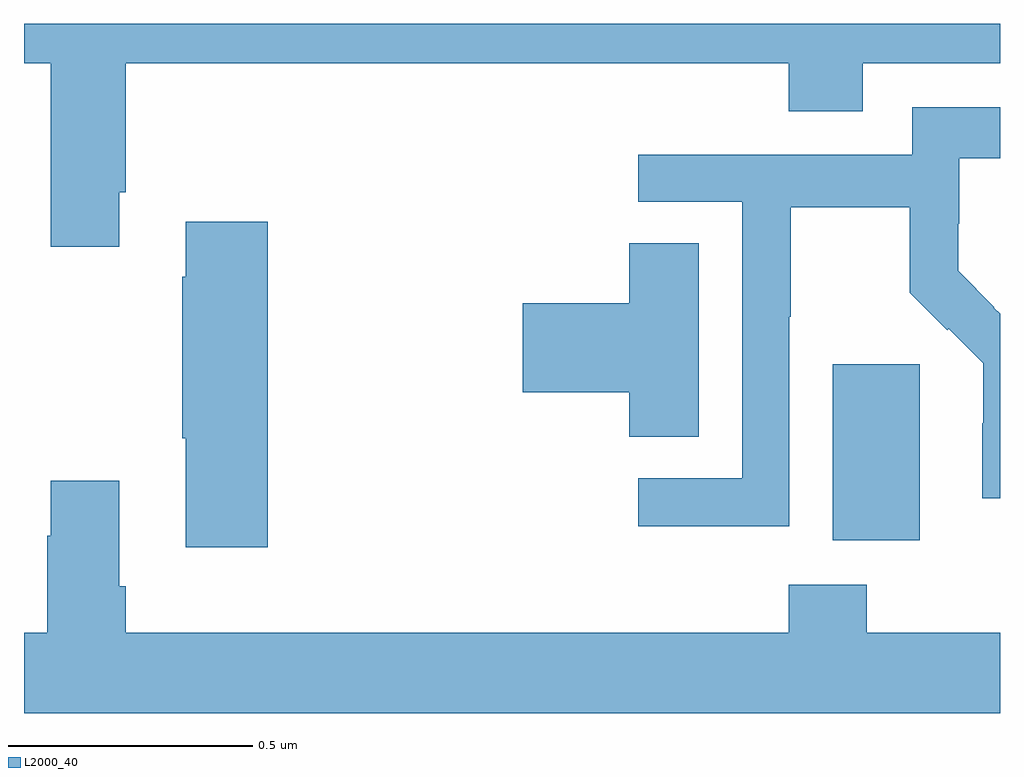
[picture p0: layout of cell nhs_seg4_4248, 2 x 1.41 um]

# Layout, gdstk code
import gdstk
lib = gdstk.Library(unit=1e-6, precision=1e-09)
def R(c, l, rs):  # rectangles x0, y0, x1, y1
    for r in rs: c.add(gdstk.rectangle(r[:2], r[2:], *l))
def P(c, l, *ps):  # polygons
    for p in ps: c.add(gdstk.Polygon(p, *l))
L2000_40 = (2000, 40)

nhs_seg4_4248 = lib.new_cell('nhs_seg4_4248')
R(nhs_seg4_4248, L2000_40, [(164.657,795.842,164.836,796.203)])
P(nhs_seg4_4248, L2000_40, [(163.195,796.555),(163.208,796.555),(163.208,796.82),(164.567,796.82),(164.567,796.721),(164.719,796.721),(164.719,796.82),(165,796.82),(165,796.9),(163,796.9),(163,796.82),(163.055,796.82),(163.055,796.443),(163.195,796.443)],
  [(164.568,796.3),(164.571,796.3),(164.571,796.524),(164.815,796.524),(164.815,796.349),(164.892,796.272),(164.895,796.275),(164.966,796.205),(164.966,796.082),(164.964,796.082),(164.964,795.928),(165,795.928),(165,796.306),(164.987,796.319),(164.988,796.32),(164.914,796.394),(164.914,796.491),(164.916,796.491),(164.916,796.625),(165,796.625),(165,796.729),(164.82,796.729),(164.82,796.632),(164.259,796.632),(164.259,796.536),(164.472,796.536),(164.472,795.969),(164.259,795.969),(164.259,795.871),(164.568,795.871)],
  [(163.499,796.495),(163.331,796.495),(163.331,796.382),(163.324,796.382),(163.324,796.051),(163.331,796.051),(163.331,795.828),(163.499,795.828)],
  [(164.383,796.451),(164.24,796.451),(164.24,796.328),(164.022,796.328),(164.022,796.145),(164.24,796.145),(164.24,796.054),(164.383,796.054)],
  [(165,795.652),(164.727,795.652),(164.727,795.751),(164.567,795.751),(164.567,795.652),(163.208,795.652),(163.208,795.748),(163.195,795.748),(163.195,795.964),(163.055,795.964),(163.055,795.851),(163.048,795.851),(163.048,795.652),(163,795.652),(163,795.488),(165,795.488)])

lib.write_gds('nhs_seg4_4248.gds')
